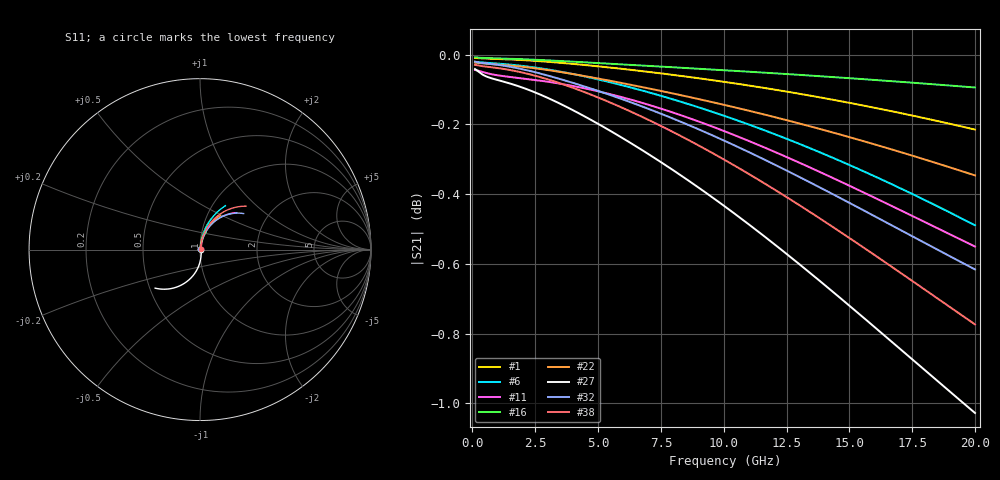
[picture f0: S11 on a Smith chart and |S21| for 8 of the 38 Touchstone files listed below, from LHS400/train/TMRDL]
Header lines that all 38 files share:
! Touchstone file exported from HFSS 2026.1.0
!  Design:  TMRDL
! Variables:
! Terminal data exported
# GHz S MA R 50.000000
Fixed: h_bsmrdl = 2um, h_ox = 20um, h_rdl = 5um, h_sub = 80um, h_tsv = 80um, h_via = 3um, l_bsmrdl = 300um, m_sub = 200um, r_tsv = 6um, s_tmrdl = 10um, w_bsmrdl = 18um, w_sub = 500um
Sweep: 100 MHz to 20 GHz
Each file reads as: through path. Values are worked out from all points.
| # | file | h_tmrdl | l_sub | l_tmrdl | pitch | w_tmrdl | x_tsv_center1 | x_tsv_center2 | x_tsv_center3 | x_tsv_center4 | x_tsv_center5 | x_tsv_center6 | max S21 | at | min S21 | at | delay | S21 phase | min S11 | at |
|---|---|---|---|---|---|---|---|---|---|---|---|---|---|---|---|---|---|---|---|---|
| 1 | dut380.s2p | 4.78um | 637.57um | 237.57um | 45.95um | 18.56um | 246.85um | 564.85um | 820.98um | 1138.98um | 1395.11um | 1713.11um | -0.01 dB | 100 MHz | -0.2 dB | 20 GHz | 2.6 ps | -10 deg at 10.1 GHz | -56.1 dB | 100 MHz |
| 2 | dut381.s2p | 5.94um | 1344.51um | 944.51um | 24.69um | 15.45um | 952.235um | 1270.235um | 2230.195um | 2548.195um | 3508.155um | 3826.155um | -0.03 dB | 100 MHz | -0.4 dB | 20 GHz | 7.31 ps | -27 deg at 10.1 GHz | -47.4 dB | 100 MHz |
| 3 | dut382.s2p | 3.24um | 520.21um | 120.21um | 26.2um | 24.31um | 132.365um | 450.365um | 594.885um | 912.885um | 1057.405um | 1375.405um | -0.01 dB | 100 MHz | -0.1 dB | 20 GHz | 1.04 ps | -4 deg at 10.1 GHz | -61.7 dB | 100 MHz |
| 4 | dut383.s2p | 5.13um | 1398.41um | 998.41um | 17.07um | 13.59um | 1005.205um | 1323.205um | 2335.205um | 2653.205um | 3665.205um | 3983.205um | -0.05 dB | 100 MHz | -0.3 dB | 20 GHz | 7.52 ps | -28 deg at 10.1 GHz | -45.5 dB | 100 MHz |
| 5 | dut384.s2p | 3.37um | 664.71um | 264.71um | 47.8um | 29.65um | 279.535um | 597.535um | 891.895um | 1209.895um | 1504.255um | 1822.255um | -0.01 dB | 100 MHz | -0.1 dB | 20 GHz | 2.61 ps | -10 deg at 10.1 GHz | -56.3 dB | 100 MHz |
| 6 | dut385.s2p | 4.83um | 785.29um | 385.29um | 36.67um | 12.2um | 391.39um | 709.39um | 1106.88um | 1424.88um | 1822.37um | 2140.37um | -0.02 dB | 100 MHz | -0.5 dB | 20 GHz | 3.92 ps | -15 deg at 10.1 GHz | -50.5 dB | 100 MHz |
| 7 | dut386.s2p | 5.98um | 945.29um | 545.29um | 56.08um | 18.33um | 554.455um | 872.455um | 1436.075um | 1754.075um | 2317.695um | 2635.695um | -0.02 dB | 100 MHz | -0.9 dB | 20 GHz | 5.53 ps | -21 deg at 10.1 GHz | -49.8 dB | 100 MHz |
| 8 | dut387.s2p | 5.89um | 646.06um | 246.06um | 21.18um | 16.55um | 254.335um | 572.335um | 834.945um | 1152.945um | 1415.555um | 1733.555um | -0.01 dB | 100 MHz | -0.1 dB | 20 GHz | 1.91 ps | -7 deg at 10.1 GHz | -59.3 dB | 100 MHz |
| 9 | dut388.s2p | 5.75um | 615.55um | 215.55um | 37.22um | 23.19um | 227.145um | 545.145um | 783.885um | 1101.885um | 1340.625um | 1658.625um | -0.01 dB | 100 MHz | -0.1 dB | 20 GHz | 1.96 ps | -7 deg at 10.1 GHz | -60.5 dB | 100 MHz |
| 10 | dut389.s2p | 3.61um | 1033.92um | 633.92um | 54.52um | 24.16um | 646um | 964um | 1622.08um | 1940.08um | 2598.16um | 2916.16um | -0.02 dB | 100 MHz | -0.9 dB | 20 GHz | 6.12 ps | -23 deg at 10.1 GHz | -48.2 dB | 100 MHz |
| 11 | dut390.s2p | 2.34um | 1069.2um | 669.2um | 35.32um | 21.12um | 679.76um | 997.76um | 1688.08um | 2006.08um | 2696.4um | 3014.4um | -0.04 dB | 100 MHz | -0.6 dB | 20 GHz | 5.88 ps | -22 deg at 10.1 GHz | -45.2 dB | 100 MHz |
| 12 | dut391.s2p | 2.83um | 1153.95um | 753.95um | 26.09um | 17.47um | 762.685um | 1080.685um | 1852.105um | 2170.105um | 2941.525um | 3259.525um | -0.05 dB | 100 MHz | -0.4 dB | 20 GHz | 6.14 ps | -23 deg at 10.1 GHz | -44.6 dB | 100 MHz |
| 13 | dut392.s2p | 4.92um | 1258.51um | 858.51um | 48.62um | 25.37um | 871.195um | 1189.195um | 2073.075um | 2391.075um | 3274.955um | 3592.955um | -0.02 dB | 100 MHz | -0.8 dB | 20 GHz | 7.43 ps | -28 deg at 10.1 GHz | -48.1 dB | 100 MHz |
| 14 | dut393.s2p | 3.55um | 735.58um | 335.58um | 52.69um | 18.67um | 344.915um | 662.915um | 1017.165um | 1335.165um | 1689.415um | 2007.415um | -0.02 dB | 100 MHz | -0.5 dB | 20 GHz | 3.8 ps | -14 deg at 10.1 GHz | -51.5 dB | 100 MHz |
| 15 | dut394.s2p | 4.68um | 965.79um | 565.79um | 44.04um | 29.51um | 580.545um | 898.545um | 1493.845um | 1811.845um | 2407.145um | 2725.145um | -0.01 dB | 100 MHz | -0.3 dB | 20 GHz | 4.81 ps | -18 deg at 10.1 GHz | -53.0 dB | 100 MHz |
| 16 | dut395.s2p | 4.59um | 648.03um | 248.03um | 45.32um | 29.94um | 263um | 581um | 858.97um | 1176.97um | 1454.94um | 1772.94um | -0.01 dB | 100 MHz | -0.1 dB | 20 GHz | 2.32 ps | -9 deg at 10.1 GHz | -59.1 dB | 100 MHz |
| 17 | dut396.s2p | 2.75um | 1314.59um | 914.59um | 52.21um | 24.99um | 927.085um | 1245.085um | 2184.665um | 2502.665um | 3442.245um | 3760.245um | -0.04 dB | 100 MHz | -1.3 dB | 20 GHz | 8.18 ps | -32 deg at 10.1 GHz | -44.2 dB | 100 MHz |
| 18 | dut397.s2p | 3.44um | 1210.54um | 810.54um | 40.94um | 19.2um | 820.14um | 1138.14um | 1967.88um | 2285.88um | 3115.62um | 3433.62um | -0.04 dB | 100 MHz | -1.0 dB | 20 GHz | 7.22 ps | -28 deg at 10.1 GHz | -45.3 dB | 100 MHz |
| 19 | dut398.s2p | 4.7um | 934.47um | 534.47um | 42.61um | 26.73um | 547.835um | 865.835um | 1427.035um | 1745.035um | 2306.235um | 2624.235um | -0.02 dB | 100 MHz | -0.3 dB | 20 GHz | 4.63 ps | -17 deg at 10.1 GHz | -52.8 dB | 100 MHz |
| 20 | dut399.s2p | 3.68um | 872.57um | 472.57um | 30.44um | 23.58um | 484.36um | 802.36um | 1298.51um | 1616.51um | 2112.66um | 2430.66um | -0.02 dB | 100 MHz | -0.1 dB | 20 GHz | 3.8 ps | -14 deg at 10.1 GHz | -52.6 dB | 100 MHz |
| 21 | dut400.s2p | 4.07um | 1184.81um | 784.81um | 58.72um | 28.28um | 798.95um | 1116.95um | 1930.04um | 2248.04um | 3061.13um | 3379.13um | -0.02 dB | 100 MHz | -1.0 dB | 20 GHz | 7.18 ps | -28 deg at 10.1 GHz | -47.8 dB | 100 MHz |
| 22 | dut401.s2p | 5.71um | 838.51um | 438.51um | 25.17um | 10.56um | 443.79um | 761.79um | 1210.86um | 1528.86um | 1977.93um | 2295.93um | -0.02 dB | 100 MHz | -0.3 dB | 20 GHz | 3.86 ps | -14 deg at 10.1 GHz | -50.4 dB | 100 MHz |
| 23 | dut402.s2p | 3.08um | 1125.64um | 725.64um | 23.27um | 10.79um | 731.035um | 1049.035um | 1785.465um | 2103.465um | 2839.895um | 3157.895um | -0.07 dB | 100 MHz | -0.8 dB | 20 GHz | 6.28 ps | -24 deg at 10.1 GHz | -41.8 dB | 100 MHz |
| 24 | dut403.s2p | 3.17um | 588.47um | 188.47um | 47.98um | 28.04um | 202.49um | 520.49um | 737um | 1055um | 1271.51um | 1589.51um | -0.01 dB | 100 MHz | -0.1 dB | 20 GHz | 2.02 ps | -7 deg at 10.1 GHz | -57.8 dB | 100 MHz |
| 25 | dut404.s2p | 5.7um | 928.95um | 528.95um | 31.12um | 14.74um | 536.32um | 854.32um | 1398.01um | 1716.01um | 2259.7um | 2577.7um | -0.02 dB | 100 MHz | -0.4 dB | 20 GHz | 4.62 ps | -17 deg at 10.1 GHz | -50.8 dB | 100 MHz |
| 26 | dut406.s2p | 4.1um | 1138.55um | 738.55um | 43.5um | 20.3um | 748.7um | 1066.7um | 1825.55um | 2143.55um | 2902.4um | 3220.4um | -0.03 dB | 100 MHz | -0.9 dB | 20 GHz | 6.66 ps | -26 deg at 10.1 GHz | -47.3 dB | 100 MHz |
| 27 | dut407.s2p | 5.95um | 1342.15um | 942.15um | 14.31um | 12.51um | 948.405um | 1266.405um | 2221.065um | 2539.065um | 3493.725um | 3811.725um | -0.04 dB | 100 MHz | -1.0 dB | 20 GHz | 7.72 ps | -30 deg at 10.1 GHz | -46.3 dB | 100 MHz |
| 28 | dut408.s2p | 2.27um | 1191.27um | 791.27um | 45.55um | 23.1um | 802.82um | 1120.82um | 1935.19um | 2253.19um | 3067.56um | 3385.56um | -0.05 dB | 100 MHz | -1.0 dB | 20 GHz | 7.19 ps | -28 deg at 10.1 GHz | -43.9 dB | 100 MHz |
| 29 | dut409.s2p | 3.67um | 1051.79um | 651.79um | 47.14um | 15.11um | 659.345um | 977.345um | 1644.245um | 1962.245um | 2629.145um | 2947.145um | -0.04 dB | 100 MHz | -1.3 dB | 20 GHz | 6.48 ps | -25 deg at 10.1 GHz | -45.4 dB | 100 MHz |
| 30 | dut410.s2p | 5.96um | 556.67um | 156.67um | 29.08um | 11.27um | 162.305um | 480.305um | 648.245um | 966.245um | 1134.185um | 1452.185um | -0.01 dB | 100 MHz | -0.1 dB | 20 GHz | 1.59 ps | -6 deg at 10.1 GHz | -59.0 dB | 100 MHz |
| 31 | dut411.s2p | 4.91um | 1183.09um | 783.09um | 36.31um | 13.22um | 789.7um | 1107.7um | 1904.01um | 2222.01um | 3018.32um | 3336.32um | -0.04 dB | 100 MHz | -1.2 dB | 20 GHz | 7.03 ps | -27 deg at 10.1 GHz | -45.4 dB | 100 MHz |
| 32 | dut412.s2p | 5.58um | 1188.45um | 788.45um | 44.1um | 24.13um | 800.515um | 1118.515um | 1931.095um | 2249.095um | 3061.675um | 3379.675um | -0.02 dB | 100 MHz | -0.6 dB | 20 GHz | 6.72 ps | -25 deg at 10.1 GHz | -49.6 dB | 100 MHz |
| 33 | dut413.s2p | 5.5um | 1053.85um | 653.85um | 38.2um | 24.39um | 666.045um | 984.045um | 1662.285um | 1980.285um | 2658.525um | 2976.525um | -0.02 dB | 100 MHz | -0.3 dB | 20 GHz | 5.41 ps | -20 deg at 10.1 GHz | -52.0 dB | 100 MHz |
| 34 | dut414.s2p | 4.61um | 1386.46um | 986.46um | 24.39um | 21.91um | 997.415um | 1315.415um | 2323.785um | 2641.785um | 3650.155um | 3968.155um | -0.03 dB | 100 MHz | -0.6 dB | 20 GHz | 7.75 ps | -29 deg at 10.1 GHz | -48.3 dB | 100 MHz |
| 35 | dut415.s2p | 2.39um | 988.06um | 588.06um | 27.06um | 13.63um | 594.875um | 912.875um | 1514.565um | 1832.565um | 2434.255um | 2752.255um | -0.06 dB | 100 MHz | -0.6 dB | 20 GHz | 5.3 ps | -20 deg at 10.1 GHz | -43.3 dB | 100 MHz |
| 36 | dut417.s2p | 5.68um | 1077.95um | 677.95um | 56.86um | 27.27um | 691.585um | 1009.585um | 1714.805um | 2032.805um | 2738.025um | 3056.025um | -0.02 dB | 100 MHz | -0.7 dB | 20 GHz | 6.22 ps | -24 deg at 10.1 GHz | -50.2 dB | 100 MHz |
| 37 | dut418.s2p | 5.85um | 915.51um | 515.51um | 45.67um | 27.74um | 529.38um | 847.38um | 1390.63um | 1708.63um | 2251.88um | 2569.88um | -0.01 dB | 100 MHz | -0.3 dB | 20 GHz | 4.48 ps | -17 deg at 10.1 GHz | -54.2 dB | 100 MHz |
| 38 | dut419.s2p | 5.1um | 1101.25um | 701.25um | 34.48um | 14.92um | 708.71um | 1026.71um | 1742.88um | 2060.88um | 2777.05um | 3095.05um | -0.03 dB | 100 MHz | -0.8 dB | 20 GHz | 6.19 ps | -24 deg at 10.1 GHz | -47.5 dB | 100 MHz |
